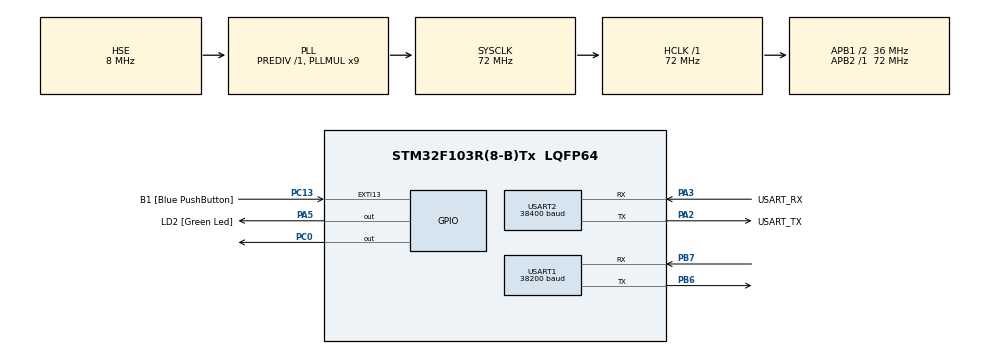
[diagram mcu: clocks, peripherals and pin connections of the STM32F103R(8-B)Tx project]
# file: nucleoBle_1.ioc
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Mcu.Family=STM32F1
Mcu.Name=STM32F103R(8-B)Tx
Mcu.Package=LQFP64
NVIC.EXTI15_10_IRQn=true\:0\:0\:false\:false\:true\:true\:true\:true
NVIC.PriorityGroup=NVIC_PRIORITYGROUP_4
PA13.GPIO_Label=TMS
PA13.Mode=Serial_Wire
PA13.Signal=SYS_JTMS-SWDIO
PA14.GPIO_Label=TCK
PA14.Mode=Serial_Wire
PA14.Signal=SYS_JTCK-SWCLK
PA2.GPIO_Label=USART_TX
PA2.GPIO_Mode=GPIO_MODE_AF_PP
PA2.GPIO_PuPd=GPIO_NOPULL
PA2.GPIO_Speed=GPIO_SPEED_FREQ_LOW
PA2.Mode=Asynchronous
PA2.Signal=USART2_TX
PA3.GPIO_Label=USART_RX
PA3.GPIO_Mode=GPIO_MODE_AF_PP
PA3.GPIO_PuPd=GPIO_NOPULL
PA3.GPIO_Speed=GPIO_SPEED_FREQ_LOW
PA3.Mode=Asynchronous
PA3.Signal=USART2_RX
PA5.GPIO_Label=LD2 [Green Led]
PA5.GPIO_ModeDefaultOutputPP=GPIO_MODE_OUTPUT_PP
PA5.GPIO_PuPd=GPIO_NOPULL
PA5.GPIO_Speed=GPIO_SPEED_FREQ_LOW
PA5.Signal=GPIO_Output
PB3.GPIO_Label=SWO
PB3.Signal=SYS_JTDO-TRACESWO
PB6.Mode=Asynchronous
PB6.Signal=USART1_TX
PB7.Mode=Asynchronous
PB7.Signal=USART1_RX
PC0.Signal=GPIO_Output
PC13-TAMPER-RTC.GPIO_Label=B1 [Blue PushButton]
PC13-TAMPER-RTC.GPIO_PuPd=GPIO_NOPULL
PC13-TAMPER-RTC.Signal=GPXTI13
PC14-OSC32_IN.Mode=LSE-External-Oscillator
PC14-OSC32_IN.Signal=RCC_OSC32_IN
PC15-OSC32_OUT.Mode=LSE-External-Oscillator
PC15-OSC32_OUT.Signal=RCC_OSC32_OUT
PD0-OSC_IN.Mode=HSE-External-Clock-Source
PD0-OSC_IN.Signal=RCC_OSC_IN
PD1-OSC_OUT.Mode=HSE-External-Clock-Source
PD1-OSC_OUT.Signal=RCC_OSC_OUT
ProjectManager.HeapSize=0x200
ProjectManager.StackSize=0x400
ProjectManager.TargetToolchain=STM32CubeIDE
RCC.AHBFreq_Value=72000000
RCC.APB1CLKDivider=RCC_HCLK_DIV2
RCC.APB1Freq_Value=36000000
RCC.APB1TimFreq_Value=72000000
RCC.APB2Freq_Value=72000000
RCC.APB2TimFreq_Value=72000000
RCC.HCLKFreq_Value=72000000
RCC.PLLMUL=RCC_PLL_MUL9
RCC.PLLSourceVirtual=RCC_PLLSOURCE_HSE
RCC.RTCClockSelection=RCC_RTCCLKSOURCE_LSE
RCC.SYSCLKFreq_VALUE=72000000
RCC.SYSCLKSource=RCC_SYSCLKSOURCE_PLLCLK
RCC.USBFreq_Value=72000000
USART1.BaudRate=38200
USART1.VirtualMode=VM_ASYNC
USART2.BaudRate=38400
USART2.VirtualMode=VM_ASYNC
board=NUCLEO-F103RB

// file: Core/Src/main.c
/* USER CODE BEGIN Header */
/**
  ******************************************************************************
  * @file           : main.c
  * @brief          : Main program body
  ******************************************************************************
  * @attention
  *
  * Copyright (c) 2022 STMicroelectronics.
  * All rights reserved.
  *
  * This software is licensed under terms that can be found in the LICENSE file
  * in the root directory of this software component.
  * If no LICENSE file comes with this software, it is provided AS-IS.
  *
  ******************************************************************************
  */
/* USER CODE END Header */
#include "main.h"

/* USER CODE BEGIN Includes */
#include "stdio.h"
/* USER CODE END Includes */

/* USER CODE BEGIN PD */
#define TxBufferSize (countof(TxBuffer) -1 )
#define RxBufferSize 0xFF
#define countof(a) (sizeof(a) / sizeof(*(a)))
/* USER CODE END PD */

 UART_HandleTypeDef huart1;
UART_HandleTypeDef huart2;

/* USER CODE BEGIN PV */
uint8_t TxBuffer[100] = "";
uint8_t RxBuffer[RxBufferSize];
uint8_t rxData;

int cnt;
/* USER CODE END PV */

void SystemClock_Config(void);
static void MX_GPIO_Init(void);
static void MX_USART2_UART_Init(void);
static void MX_USART1_UART_Init(void);

/* USER CODE BEGIN 0 */

#ifdef __GNUC__
/* With GCC, small printf (option LD Linker->Libraries->Small printf
   set to 'Yes') calls __io_putchar() */
#define PUTCHAR_PROTOTYPE int __io_putchar(int ch)
#else
#define PUTCHAR_PROTOTYPE int fputc(int ch, FILE *f)
#endif /* __GNUC__ */

PUTCHAR_PROTOTYPE
{
  /* Place your implementation of fputc here */
  /* e.g. write a character to the USART1 and Loop until the end of transmission */
  HAL_UART_Transmit(&huart2, (uint8_t *)&ch, 1, 0xFFFF);

  return ch;
}

//void HAL_UART_RxCpltCallback(UART_HandleTypeDef *huart)
//{
//
//	printf("adad\r\n");
////	if( HAL_UART_Receive(&huart1, &pData, 1,1000)==HAL_OK)
//	if(huart->Instance == USART1){
//		HAL_UART_Receive_IT(&huart1, RxBuffer, RxBufferSize);
//		printf("go home!!!!");
//	}
//
//}
/* USER CODE END 0 */

int main(void)
{

  /* MCU Configuration--------------------------------------------------------*/

  /* Reset of all peripherals, Initializes the Flash interface and the Systick. */
  HAL_Init();

  /* Configure the system clock */
  SystemClock_Config();

  /* Initialize all configured peripherals */
  MX_GPIO_Init();
  MX_USART2_UART_Init();
  MX_USART1_UART_Init();
  /* USER CODE BEGIN 2 */
//  HAL_UART_Receive_IT(&huart1, RxBuffer, RxBufferSize);
  HAL_UART_Receive_IT(&huart1,&rxData,1); // Enabling interrupt receive

  /* USER CODE END 2 */

  /* Infinite loop */
  /* USER CODE BEGIN WHILE */
  while (1)
  {

//	HAL_UART_Receive(&huart2, RxBuffer, RxBufferSize, 50);
//	printf("\r\n%s\r\n\r\n",RxBuffer);
//	printf("hello\n\r");
//	  HAL_Delay(1000);
    /* USER CODE END WHILE */

    /* USER CODE BEGIN 3 */

//	  printf("%u\r\n",pData);
//	  if(pData==0) HAL_GPIO_WritePin(GPIOC, GPIO_PIN_0, GPIO_PIN_RESET);
//	  else HAL_GPIO_WritePin(GPIOC, GPIO_PIN_0, GPIO_PIN_SET);
//
//	  HAL_Delay(10);
  }
  /* USER CODE END 3 */
}

void SystemClock_Config(void)
{
  RCC_OscInitTypeDef RCC_OscInitStruct = {0};
  RCC_ClkInitTypeDef RCC_ClkInitStruct = {0};

  /** Initializes the RCC Oscillators according to the specified parameters
  * in the RCC_OscInitTypeDef structure.
  */
  RCC_OscInitStruct.OscillatorType = RCC_OSCILLATORTYPE_HSE;
  RCC_OscInitStruct.HSEState = RCC_HSE_BYPASS;
  RCC_OscInitStruct.HSEPredivValue = RCC_HSE_PREDIV_DIV1;
  RCC_OscInitStruct.HSIState = RCC_HSI_ON;
  RCC_OscInitStruct.PLL.PLLState = RCC_PLL_ON;
  RCC_OscInitStruct.PLL.PLLSource = RCC_PLLSOURCE_HSE;
  RCC_OscInitStruct.PLL.PLLMUL = RCC_PLL_MUL9;
  if (HAL_RCC_OscConfig(&RCC_OscInitStruct) != HAL_OK)
  {
    Error_Handler();
  }

  /** Initializes the CPU, AHB and APB buses clocks
  */
  RCC_ClkInitStruct.ClockType = RCC_CLOCKTYPE_HCLK|RCC_CLOCKTYPE_SYSCLK
                              |RCC_CLOCKTYPE_PCLK1|RCC_CLOCKTYPE_PCLK2;
  RCC_ClkInitStruct.SYSCLKSource = RCC_SYSCLKSOURCE_PLLCLK;
  RCC_ClkInitStruct.AHBCLKDivider = RCC_SYSCLK_DIV1;
  RCC_ClkInitStruct.APB1CLKDivider = RCC_HCLK_DIV2;
  RCC_ClkInitStruct.APB2CLKDivider = RCC_HCLK_DIV1;

  if (HAL_RCC_ClockConfig(&RCC_ClkInitStruct, FLASH_LATENCY_2) != HAL_OK)
  {
    Error_Handler();
  }
}

static void MX_USART1_UART_Init(void)
{

  huart1.Instance = USART1;
  huart1.Init.BaudRate = 38200;
  huart1.Init.WordLength = UART_WORDLENGTH_8B;
  huart1.Init.StopBits = UART_STOPBITS_1;
  huart1.Init.Parity = UART_PARITY_NONE;
  huart1.Init.Mode = UART_MODE_TX_RX;
  huart1.Init.HwFlowCtl = UART_HWCONTROL_NONE;
  huart1.Init.OverSampling = UART_OVERSAMPLING_16;
  if (HAL_UART_Init(&huart1) != HAL_OK)
  {
    Error_Handler();
  }

}

static void MX_USART2_UART_Init(void)
{

  huart2.Instance = USART2;
  huart2.Init.BaudRate = 38400;
  huart2.Init.WordLength = UART_WORDLENGTH_8B;
  huart2.Init.StopBits = UART_STOPBITS_1;
  huart2.Init.Parity = UART_PARITY_NONE;
  huart2.Init.Mode = UART_MODE_TX_RX;
  huart2.Init.HwFlowCtl = UART_HWCONTROL_NONE;
  huart2.Init.OverSampling = UART_OVERSAMPLING_16;
  if (HAL_UART_Init(&huart2) != HAL_OK)
  {
    Error_Handler();
  }

}

static void MX_GPIO_Init(void)
{
  GPIO_InitTypeDef GPIO_InitStruct = {0};

  /* GPIO Ports Clock Enable */
  __HAL_RCC_GPIOC_CLK_ENABLE();
  __HAL_RCC_GPIOD_CLK_ENABLE();
  __HAL_RCC_GPIOA_CLK_ENABLE();
  __HAL_RCC_GPIOB_CLK_ENABLE();

  /*Configure GPIO pin Output Level */
  HAL_GPIO_WritePin(GPIOC, GPIO_PIN_0, GPIO_PIN_RESET);

  /*Configure GPIO pin Output Level */
  HAL_GPIO_WritePin(LD2_GPIO_Port, LD2_Pin, GPIO_PIN_RESET);

  /*Configure GPIO pin : B1_Pin */
  GPIO_InitStruct.Pin = B1_Pin;
  GPIO_InitStruct.Mode = GPIO_MODE_IT_RISING;
  GPIO_InitStruct.Pull = GPIO_NOPULL;
  HAL_GPIO_Init(B1_GPIO_Port, &GPIO_InitStruct);

  /*Configure GPIO pin : PC0 */
  GPIO_InitStruct.Pin = GPIO_PIN_0;
  GPIO_InitStruct.Mode = GPIO_MODE_OUTPUT_PP;
  GPIO_InitStruct.Pull = GPIO_NOPULL;
  GPIO_InitStruct.Speed = GPIO_SPEED_FREQ_LOW;
  HAL_GPIO_Init(GPIOC, &GPIO_InitStruct);

  /*Configure GPIO pin : LD2_Pin */
  GPIO_InitStruct.Pin = LD2_Pin;
  GPIO_InitStruct.Mode = GPIO_MODE_OUTPUT_PP;
  GPIO_InitStruct.Pull = GPIO_NOPULL;
  GPIO_InitStruct.Speed = GPIO_SPEED_FREQ_LOW;
  HAL_GPIO_Init(LD2_GPIO_Port, &GPIO_InitStruct);

  /* EXTI interrupt init*/
  HAL_NVIC_SetPriority(EXTI15_10_IRQn, 0, 0);
  HAL_NVIC_EnableIRQ(EXTI15_10_IRQn);

}

/* USER CODE BEGIN 4 */
void HAL_UART_RxCpltCallback(UART_HandleTypeDef *huart)
{
  if(huart->Instance==USART1)
  {
    if(rxData==78) // Ascii value of 'N' is 78 (N for NO)
    {
    	HAL_GPIO_WritePin(GPIOA, GPIO_PIN_5, 0);
    }
    else if (rxData==89) // Ascii value of 'Y' is 89 (Y for YES)
    {
    	HAL_GPIO_WritePin(GPIOA, GPIO_PIN_5, 1);
    }
    HAL_UART_Receive_IT(&huart1,&rxData,1); // Enabling interrupt receive again
  }
}
/* USER CODE END 4 */

void Error_Handler(void)
{
  __disable_irq();
  while (1)
  {
  }
}
